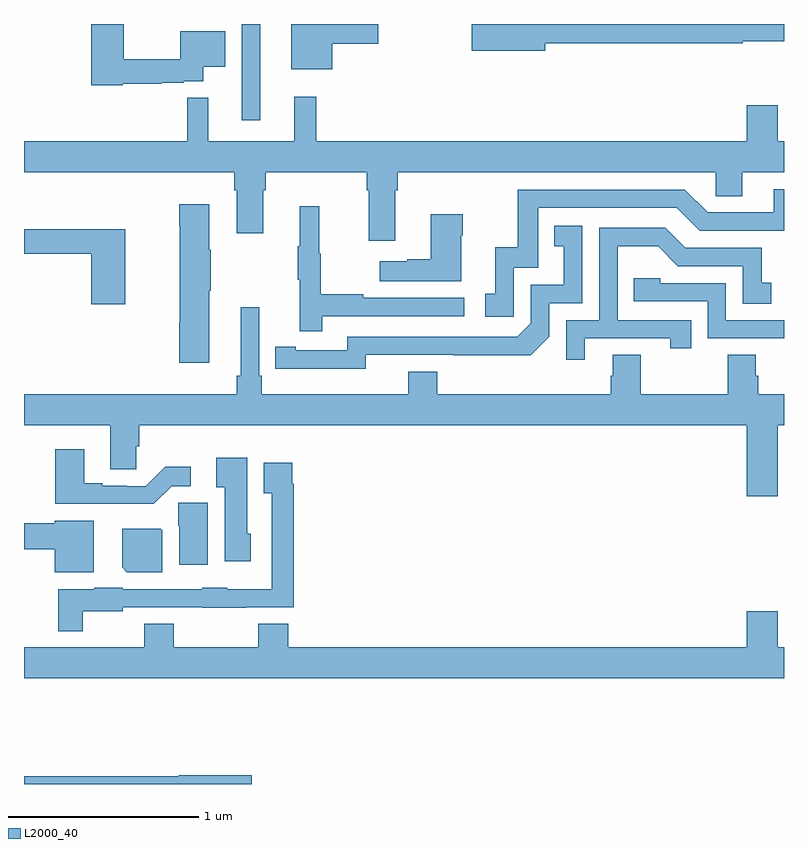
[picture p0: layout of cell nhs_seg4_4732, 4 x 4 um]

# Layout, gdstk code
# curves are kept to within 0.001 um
import gdstk
lib = gdstk.Library(unit=1e-6, precision=1e-09)
def R(c, l, rs):  # rectangles x0, y0, x1, y1
    for r in rs: c.add(gdstk.rectangle(r[:2], r[2:], *l))
def P(c, l, *ps):  # polygons
    for p in ps: c.add(gdstk.Polygon(p, *l))
L2000_40 = (2000, 40)

nhs_seg4_4732 = lib.new_cell('nhs_seg4_4732')
R(nhs_seg4_4732, L2000_40, [(366.147,830.394,366.244,830.9)])
P(nhs_seg4_4732, L2000_40, [(366.622,830.795),(366.865,830.795),(366.865,830.9),(366.407,830.9),(366.407,830.663),(366.622,830.663)],
  [(367.744,830.8),(368.784,830.8),(368.784,830.808),(369,830.808),(369,830.9),(367.356,830.9),(367.356,830.758),(367.744,830.758)],
  [(365.52,830.586),(365.726,830.586),(365.726,830.592),(365.84,830.592),(365.84,830.598),(365.944,830.598),(365.944,830.675),(366.058,830.675),(366.058,830.863),(365.822,830.863),(365.822,830.714),(365.524,830.714),(365.524,830.9),(365.354,830.9),(365.354,830.578),(365.52,830.578)],
  [(366.955,830.024),(366.968,830.024),(366.968,830.12),(368.64,830.12),(368.64,829.993),(368.779,829.993),(368.779,830.12),(369,830.12),(369,830.284),(368.968,830.284),(368.968,830.473),(368.804,830.473),(368.804,830.284),(366.539,830.284),(366.539,830.518),(366.422,830.518),(366.422,830.284),(365.969,830.284),(365.969,830.513),(365.86,830.513),(365.86,830.284),(365,830.284),(365,830.12),(366.107,830.12),(366.107,830.024),(366.119,830.024),(366.119,829.8),(366.259,829.8),(366.259,830.024),(366.272,830.024),(366.272,830.12),(366.803,830.12),(366.803,830.024),(366.815,830.024),(366.815,829.758),(366.955,829.758)],
  [(367.578,829.617),(367.707,829.617),(367.707,829.932),(368.436,829.932),(368.556,829.812),(369,829.812),(369,830.031),(368.945,830.031),(368.945,829.908),(368.598,829.908),(368.478,830.028),(367.599,830.028),(367.599,829.726),(367.481,829.726),(367.481,829.479),(367.428,829.479),(367.428,829.359),(367.578,829.359)],
  [(365.974,829.495),(365.982,829.495),(365.982,829.712),(365.974,829.712),(365.974,829.951),(365.816,829.951),(365.816,829.838),(365.821,829.838),(365.821,829.328),(365.816,829.328),(365.816,829.116),(365.974,829.116)],
  [(366.569,829.362),(367.318,829.362),(367.318,829.458),(366.785,829.458),(366.785,829.478),(366.562,829.478),(366.562,829.692),(366.554,829.692),(366.554,829.942),(366.452,829.942),(366.452,829.729),(366.441,829.729),(366.441,829.555),(366.452,829.555),(366.452,829.284),(366.569,829.284)],
  [(367.3,829.787),(367.308,829.787),(367.308,829.9),(367.142,829.9),(367.142,829.661),(367.016,829.661),(367.016,829.651),(366.873,829.651),(366.873,829.547),(367.3,829.547)],
  [(366.798,829.158),(367.666,829.157),(367.764,829.254),(367.764,829.431),(367.938,829.431),(367.938,829.837),(367.792,829.837),(367.792,829.731),(367.841,829.731),(367.841,829.527),(367.668,829.527),(367.668,829.326),(367.596,829.254),(366.702,829.254),(366.702,829.182),(366.43,829.182),(366.43,829.202),(366.322,829.202),(366.322,829.086),(366.798,829.085)],
  [(367.951,829.245),(368.402,829.245),(368.402,829.194),(368.513,829.194),(368.513,829.341),(368.124,829.341),(368.124,829.73),(368.338,829.73),(368.442,829.626),(368.784,829.626),(368.784,829.428),(368.932,829.428),(368.932,829.537),(368.883,829.537),(368.883,829.722),(368.479,829.722),(368.374,829.827),(368.028,829.827),(368.028,829.341),(367.854,829.341),(367.854,829.134),(367.951,829.134)],
  [(365.532,829.819),(365,829.819),(365,829.69),(365.354,829.69),(365.354,829.425),(365.532,829.425)],
  [(369,829.341),(368.694,829.341),(368.694,829.536),(368.349,829.536),(368.349,829.563),(368.209,829.563),(368.209,829.44),(368.598,829.44),(368.598,829.245),(369,829.245)],
  [(368.099,829.16),(368.099,829.05),(368.087,829.05),(368.087,828.952),(367.175,828.952),(367.175,829.069),(367.022,829.069),(367.022,828.952),(366.251,828.952),(366.251,829.048),(366.237,829.048),(366.237,829.408),(366.14,829.408),(366.14,829.048),(366.121,829.048),(366.121,828.952),(365,828.952),(365,828.788),(365.453,828.788),(365.453,828.556),(365.592,828.556),(365.592,828.678),(365.606,828.678),(365.606,828.788),(368.804,828.788),(368.804,828.414),(368.968,828.414),(368.968,828.788),(369,828.788),(369,828.952),(368.864,828.952),(368.864,829.05),(368.851,829.05),(368.851,829.16),(368.704,829.16),(368.704,828.952),(368.247,828.952),(368.247,829.16)],
  [(365.778,828.468),(365.878,828.468),(365.878,828.571),(365.743,828.571),(365.64,828.468),(365.54,828.468),(365.54,828.471),(365.413,828.471),(365.413,828.484),(365.317,828.484),(365.317,828.661),(365.165,828.661),(365.165,828.374),(365.683,828.374)],
  [(366.193,828.216),(366.175,828.216),(366.175,828.616),(366.011,828.616),(366.011,828.462),(366.056,828.462),(366.056,828.072),(366.193,828.072)],
  [(365.308,827.81),(365.52,827.81),(365.52,827.829),(365.937,827.829),(365.937,827.828),(366.169,827.828),(366.169,827.829),(366.419,827.829),(366.419,828.479),(366.412,828.479),(366.412,828.592),(366.263,828.592),(366.263,828.431),(366.303,828.431),(366.303,827.926),(366.069,827.926),(366.069,827.932),(365.937,827.932),(365.937,827.925),(365.52,827.925),(365.52,827.932),(365.37,827.932),(365.37,827.926),(365.179,827.926),(365.179,827.705),(365.308,827.705)],
  [(365.968,828.381),(365.812,828.381),(365.812,828.258),(365.816,828.258),(365.816,828.054),(365.968,828.054)],
  [(365.368,828.286),(365.162,828.286),(365.162,828.272),(365,828.272),(365,828.136),(365.162,828.136),(365.162,828.014),(365.368,828.014)],
  [(365.728,828.236),(365.72,828.244),(365.516,828.244),(365.516,828.04),(365.542,828.014),(365.728,828.014)],
  [(369,827.62),(368.968,827.62),(368.968,827.809),(368.804,827.809),(368.804,827.62),(366.392,827.62),(366.392,827.744),(366.232,827.744),(366.232,827.62),(365.787,827.62),(365.787,827.744),(365.632,827.744),(365.632,827.62),(365,827.62),(365,827.456),(369,827.456)],
  [(366.199,826.946),(365.814,826.946),(365.814,826.94),(365,826.94),(365,826.9),(366.199,826.9)])

lib.write_gds('nhs_seg4_4732.gds')
